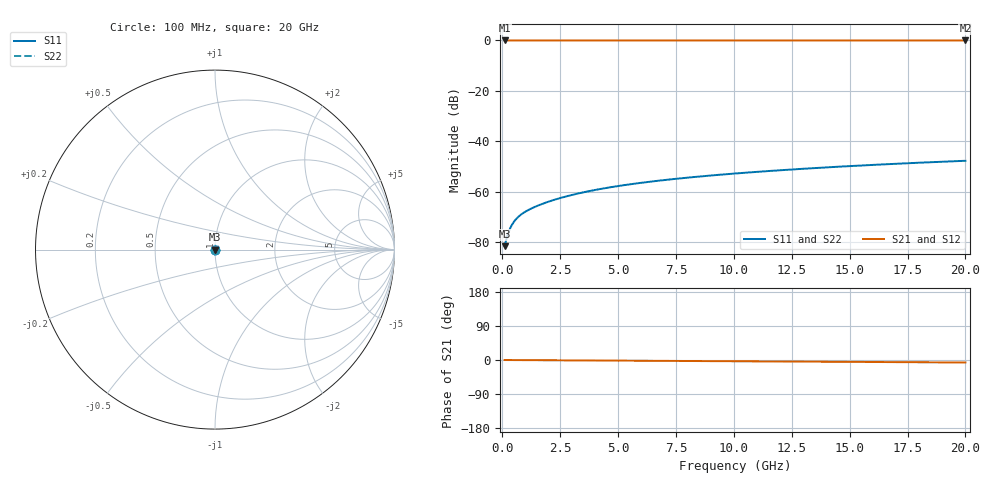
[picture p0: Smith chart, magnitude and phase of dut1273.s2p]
! Touchstone file exported from HFSS 2026.1.0
!  File:  C:/ffzhzh/LocalFiles/Ansys_Project_Files/temp_train_TSV_1273_1783194143_18472.aedt
!  Generated:  03:43:53 AM Jul  5, 2026
!  Design:  TSV
!  Project:  temp_train_TSV_1273_1783194143_18472
! Variables:
!  h_bsmrdl = 2um
!  h_ox = 20um
!  h_rdl = 5um
!  h_sub = 60.76um
!  h_tmrdl = 5um
!  h_tsv = 60.76um
!  h_via = 3um
!  l_bsmrdl = 300um
!  l_sub = 427.78um
!  l_tmrdl = 200um
!  m_sub = 200um
!  pitch = 56.73um
!  r_tsv = 13.89um
!  s_tmrdl = 10um
!  w_bsmrdl = 18um
!  w_sub = 500um
!  w_tmrdl = 12um
!  x_tsv_center1 = 206um
!  x_tsv_center2 = 524um
!  x_tsv_center3 = 736um
!  x_tsv_center4 = 1054um
!  x_tsv_center5 = 1266um
!  x_tsv_center6 = 1584um
# GHz S MA R 50.000000
! Terminal data exported
! Port[1] = TSV1_1_T1
! Port[2] = TSV1_1_T2
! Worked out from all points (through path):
!   200 points, 100 MHz to 20 GHz, reference 50 ohm
!   highest |S21| = 0.00 dB at 100 MHz (marker M1); lowest = 0.0 dB at 20 GHz (marker M2)
!   lowest |S11| = -81.6 dB at 100 MHz (marker M3), VSWR 1.00, Z = 50 + j0.00518 ohm
!   |S11| at or under -10 dB: start of sweep to end of sweep
!   |S22| runs from -81.6 to -47.7 dB; largest |S21 - S12| = 2e-15
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0.1  8.304e-05 38.6  0.9999 -0.0  0.9999 -0.0  8.304e-05 38.6
! Gamma 0 0 0 0
! Port Impedance 50 0 50 0
0.2  0.0001257 53.4  0.9999 -0.1  0.9999 -0.1  0.0001257 53.4
0.3  0.0001709 58.3  0.9999 -0.1  0.9999 -0.1  0.0001709 58.3
0.4  0.0002136 59.9  0.9999 -0.1  0.9999 -0.1  0.0002136 59.9
0.5  0.0002526 60.4  0.9999 -0.2  0.9999 -0.2  0.0002526 60.4
0.6  0.0002877 60.4  0.9999 -0.2  0.9999 -0.2  0.0002877 60.4
0.7  0.0003197 60.4  0.9998 -0.2  0.9998 -0.2  0.0003197 60.4
0.9  0.0003765 60.6  0.9998 -0.3  0.9998 -0.3  0.0003765 60.6
1.1  0.0004273 61.1  0.9998 -0.4  0.9998 -0.4  0.0004273 61.1
1.3  0.000475 61.8  0.9998 -0.4  0.9998 -0.4  0.000475 61.8
1.9  0.0006122 64.3  0.9997 -0.6  0.9997 -0.6  0.0006122 64.3
2.6  0.0007703 66.7  0.9997 -0.9  0.9997 -0.9  0.0007703 66.7
3.5  0.0009714 68.6  0.9997 -1.2  0.9997 -1.2  0.0009714 68.6
4.2  0.001124 69.5  0.9996 -1.4  0.9996 -1.4  0.001124 69.5
5  0.001295 70.2  0.9996 -1.7  0.9996 -1.7  0.001295 70.2
5.9  0.001481 70.8  0.9996 -1.9  0.9996 -1.9  0.001481 70.8
6.8  0.001663 71.2  0.9995 -2.2  0.9995 -2.2  0.001663 71.2
8.3  0.001958 71.8  0.9995 -2.7  0.9995 -2.7  0.001958 71.8
10.1  0.002304 72.2  0.9994 -3.3  0.9994 -3.3  0.002304 72.2
13.4  0.002924 72.5  0.9993 -4.4  0.9993 -4.4  0.002924 72.5
16.7  0.003525 72.4  0.9993 -5.5  0.9993 -5.5  0.003525 72.4
20  0.004105 72.0  0.9992 -6.6  0.9992 -6.6  0.004105 72.0
